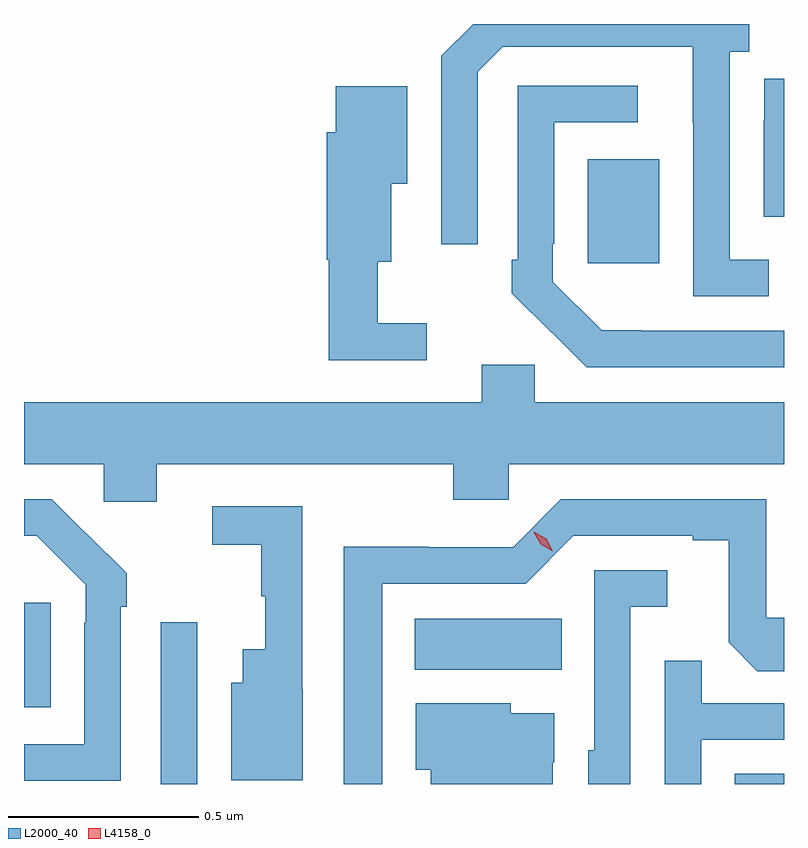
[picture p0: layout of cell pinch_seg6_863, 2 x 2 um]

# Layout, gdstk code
import gdstk
lib = gdstk.Library(unit=1e-6, precision=1e-09)
def R(c, l, rs):  # rectangles x0, y0, x1, y1
    for r in rs: c.add(gdstk.rectangle(r[:2], r[2:], *l))
def P(c, l, *ps):  # polygons
    for p in ps: c.add(gdstk.Polygon(p, *l))
L2000_40 = (2000, 40)
L4158_0 = (4158, 0)

pinch_seg6_863 = lib.new_cell('pinch_seg6_863')
R(pinch_seg6_863, L2000_40, [(136.701,978.463,136.797,978.889), (138.212,978.463,138.341,978.49), (136.341,978.665,136.411,978.94), (137.369,978.764,137.756,978.898), (137.825,979.833,138.013,980.107)])
P(pinch_seg6_863, L2000_40, [(138.301,979.842),(138.198,979.842),(138.198,980.39),(138.25,980.39),(138.25,980.463),(137.523,980.463),(137.439,980.379),(137.439,979.884),(137.535,979.884),(137.535,980.337),(137.601,980.403),(138.101,980.403),(138.101,980.203),(138.102,980.203),(138.102,979.746),(138.301,979.746)],
  [(138.341,980.319),(138.289,980.319),(138.289,980.21),(138.288,980.21),(138.288,979.956),(138.341,979.956)],
  [(138.341,979.656),(137.965,979.656),(137.965,979.657),(137.862,979.657),(137.733,979.785),(137.733,979.885),(137.736,979.885),(137.736,980.205),(137.956,980.205),(137.956,980.301),(137.64,980.301),(137.64,979.843),(137.625,979.843),(137.625,979.755),(137.73,979.65),(137.731,979.651),(137.822,979.56),(138.341,979.56)],
  [(137.401,979.675),(137.272,979.675),(137.272,979.838),(137.308,979.838),(137.308,980.042),(137.35,980.042),(137.35,980.299),(137.162,980.299),(137.162,980.178),(137.138,980.178),(137.138,979.842),(137.143,979.842),(137.143,979.578),(137.401,979.578)],
  [(136.69,979.304),(137.47,979.304),(137.47,979.211),(137.616,979.211),(137.616,979.304),(138.341,979.304),(138.341,979.468),(137.685,979.468),(137.685,979.566),(137.546,979.566),(137.546,979.468),(136.341,979.468),(136.341,979.304),(136.551,979.304),(136.551,979.206),(136.69,979.206)],
  [(136.596,978.929),(136.611,978.929),(136.611,979.017),(136.506,979.122),(136.505,979.121),(136.414,979.212),(136.341,979.212),(136.341,979.116),(136.375,979.116),(136.503,978.987),(136.503,978.887),(136.5,978.887),(136.5,978.567),(136.341,978.567),(136.341,978.471),(136.596,978.471)],
  [(137.284,978.99),(137.661,978.99),(137.787,979.116),(138.101,979.116),(138.101,979.104),(138.195,979.104),(138.195,978.836),(138.271,978.76),(138.341,978.76),(138.341,978.9),(138.294,978.9),(138.294,979.212),(137.754,979.212),(137.628,979.086),(137.406,979.086),(137.406,979.088),(137.183,979.088),(137.183,978.463),(137.284,978.463)],
  [(137.074,978.713),(137.073,978.713),(137.073,979.194),(136.836,979.194),(136.836,979.093),(136.965,979.093),(136.965,978.957),(136.976,978.957),(136.976,978.817),(136.916,978.817),(136.916,978.73),(136.886,978.73),(136.886,978.473),(137.074,978.473)],
  [(137.937,978.929),(138.034,978.929),(138.034,979.026),(137.841,979.026),(137.841,978.552),(137.826,978.552),(137.826,978.463),(137.937,978.463)],
  [(138.123,978.579),(138.341,978.579),(138.341,978.675),(138.125,978.675),(138.125,978.788),(138.027,978.788),(138.027,978.463),(138.123,978.463)],
  [(137.733,978.52),(137.737,978.52),(137.737,978.649),(137.622,978.649),(137.622,978.676),(137.372,978.676),(137.372,978.5),(137.411,978.5),(137.411,978.463),(137.733,978.463)])
P(pinch_seg6_863, L4158_0, [(137.732,979.075),(137.701,979.094),(137.683,979.126),(137.683,979.127),(137.683,979.127),(137.715,979.108),(137.733,979.076),(137.733,979.075)])

lib.write_gds('pinch_seg6_863.gds')
